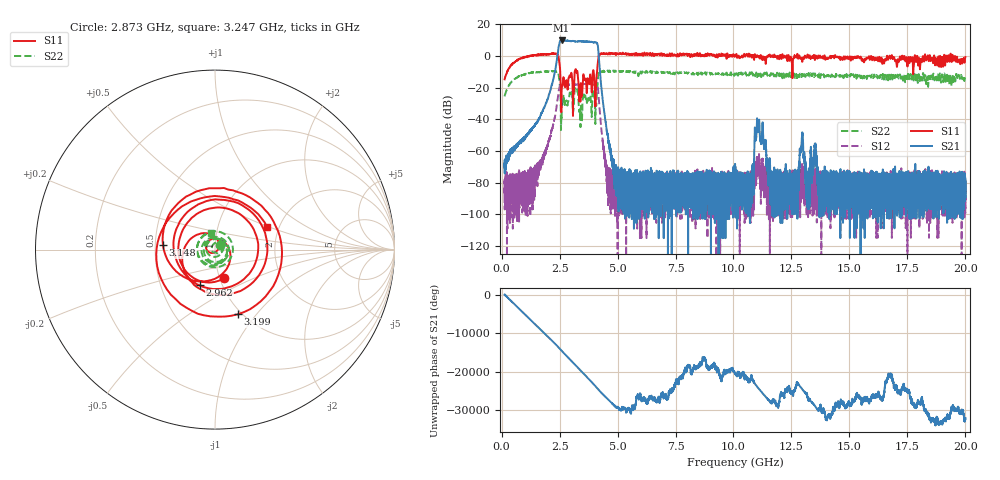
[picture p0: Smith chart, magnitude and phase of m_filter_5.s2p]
!Created with skrf (http://scikit-rf.org).
# GHz S RI R 50.0
!freq ReS11 ImS11 ReS21 ImS21 ReS12 ImS12 ReS22 ImS22
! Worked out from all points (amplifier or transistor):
!   20013 points, 130 MHz to 20 GHz, reference 50 ohm
!   highest |S21| = 9.8 dB at 2.589 GHz (marker M1)
!   |S21| within 3 dB of that: 2.471 GHz to 4.146 GHz (1.675 GHz wide, 50.6 % of centre)
!   unconditionally stable (mu >= 1): start of sweep to 1.198 GHz; 2.463 GHz to 4.181 GHz; 14.4 GHz to 16.62 GHz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
!   at 3.465 GHz: K = 1.51, MAG = 9.3 dB, |S12| = -17.7 dB
!   at 10.14 GHz: K = -6879883.32, MSG = 2.3 dB, |S12| = -83.1 dB
!   at 20 GHz: K = 10846518.19, MAG = -70.9 dB, |S12| = -84.6 dB
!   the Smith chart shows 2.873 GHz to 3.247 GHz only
!   S11 on the Smith chart (normalised r, x): 2.873 GHz: 1.05, -0.34; 2.962 GHz: 0.78, -0.33; 3.148 GHz: 0.55, +0.03; 3.199 GHz: 0.96, -0.81; 3.247 GHz: 1.73, +0.49
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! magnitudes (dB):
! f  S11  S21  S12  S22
! 130 MHz  -14.7  -69.9  -87.5  -25.5
! 1.507 GHz  0.8  -42.1  -72.9  -10.3
! 2.369 GHz  0.9  -4.2  -32.4  -10.1
! 2.589 GHz  -22.1  9.8  -18.3  -39.6
! 2.873 GHz  -15.6  9.5  -18.0  -28.4
! 2.962 GHz  -13.3  9.5  -18.0  -24.1
! 3.148 GHz  -10.7  9.3  -18.1  -22.2
! 3.199 GHz  -8.4  9.0  -18.2  -20.0
! 3.247 GHz  -10.0  9.1  -18.0  -20.3
! 3.442 GHz  -25.2  9.3  -17.7  -34.6
! 4.102 GHz  -11.6  8.3  -18.1  -25.1
! 4.549 GHz  1.7  -48.2  -72.3  -9.8
! 4.966 GHz  1.8  -78.6  -76.3  -9.7
! 6.754 GHz  1.4  -77.8  -74.7  -10.2
! 10.06 GHz  -0.3  -72.6  -84.6  -11.1
! 10.78 GHz  -0.7  -78.1  -83.5  -10.6
! 11.02 GHz  0.5  -39.8  -64.2  -13.2
! 11.69 GHz  0.1  -82.1  -81.8  -11.4
! 12.95 GHz  -2.5  -50.8  -70.8  -11.9
! 13.38 GHz  -0.6  -69.1  -80.4  -12.6
! 16.69 GHz  -0.7  -95.0  -102.9  -13.0
! 20 GHz  -0.6  -79.7  -84.6  -12.8
